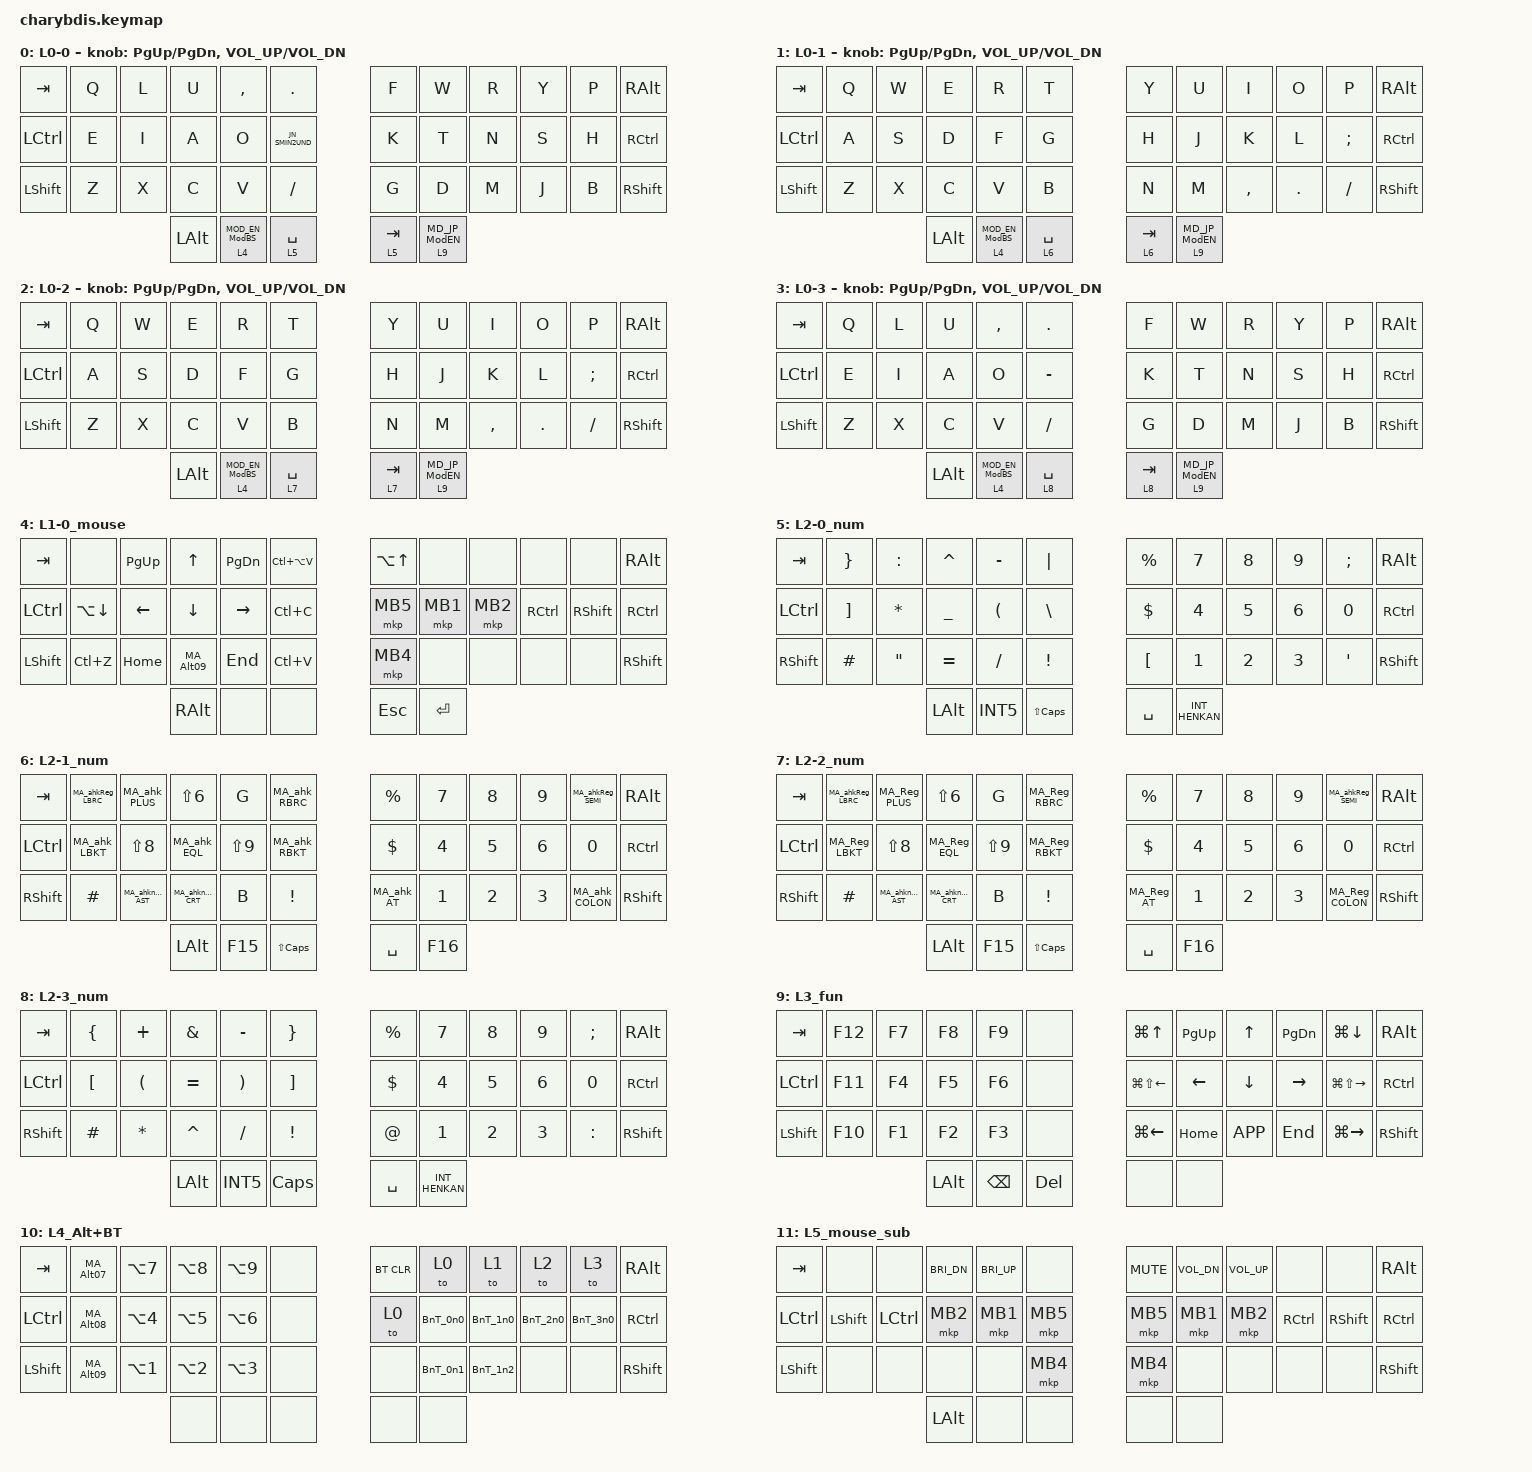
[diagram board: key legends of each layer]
#include <behaviors.dtsi>
#include <dt-bindings/zmk/bt.h>
#include <dt-bindings/zmk/keys.h>
#include <dt-bindings/zmk/pointing.h>

&lt {
    tapping-term-ms = <200>;
    flavor = "balanced";
    quick-tap-ms = <150>;
};

/ {
    macros {
        MA_Alt09: MA_Alt09 {
            compatible = "zmk,behavior-macro";
            #binding-cells = <0>;
            bindings = <&kp LALT &kp N0 &kp N9>;
            label = "MA_Alt09";
        };

        MA_Alt08: MA_Alt08 {
            compatible = "zmk,behavior-macro";
            #binding-cells = <0>;
            bindings = <&kp LALT &kp N0 &kp N8>;
            label = "MA_Alt08";
        };

        MA_Alt07: MA_Alt07 {
            compatible = "zmk,behavior-macro";
            #binding-cells = <0>;
            bindings = <&kp LALT &kp N0 &kp N7>;
            label = "MA_Alt07";
        };

        MA_ahk_LBKT: MA_ahk_LBKT {
            compatible = "zmk,behavior-macro";
            #binding-cells = <0>;
            bindings = <&sk SPACE &kp A>;
            label = "MA_AHK_LBKT";
        };

        MA_ahk_RBKT: MA_ahk_RBKT {
            compatible = "zmk,behavior-macro";
            #binding-cells = <0>;
            bindings = <&sk SPACE &kp G>;
            label = "MA_AHK_RBKT";
        };
    };

    combos {
        compatible = "zmk,combos";

        CO_gui {
            bindings = <&kp LEFT_WIN>;
            key-positions = <37 36>;
            layers = <0 1 2 3 5 6 7 8>;
        };

        CO_mo_L0.1 {
            bindings = <&mo 11>;
            key-positions = <37 38>;
        };

        CO_L4_AltBT {
            bindings = <&mo 10>;
            key-positions = <39 40>;
            layers = <0 1 2 3>;
        };

        CO_CtrlAtlShift {
            bindings = <&kp LS(LA(LCTRL))>;
            key-positions = <36 40>;
            layers = <0 1 2 3>;
        };

        CO_L2L_SCRL {
            bindings = <&mo 5>;
            key-positions = <19 21>;
        };

        CO_Shift {
            bindings = <&kp LSHIFT>;
            key-positions = <37 39>;
        };

        CO_Ctrl {
            bindings = <&kp LCTRL>;
            key-positions = <38 40>;
        };

        CO_L1_Mouse {
            bindings = <&sl 4>;
            key-positions = <19 22>;
            require-prior-idle-ms = <0>;
            layers = <4>;
        };
    };

    behaviors {
        JN_SMIN2UND: JN_SMIN2UND {
            compatible = "zmk,behavior-mod-morph";
            label = "JN_SMIN2UND";
            bindings = <&kp MINUS>, <&kp LS(0x87)>;

            #binding-cells = <0>;
            mods = <(MOD_LSFT|MOD_RSFT)>;
        };

        MD_JP_ModEN: MD_JP_ModEN {
            compatible = "zmk,behavior-mod-morph";
            label = "MD_JP_MODEN";
            #binding-cells = <0>;
            bindings = <&kp LANG1>, <&kp ENTER>, <&kp ENTER>, <&kp ENTER>;

            mods = <(MOD_LSFT|MOD_RSFT|MOD_LCTL|MOD_RCTL|MOD_LALT|MOD_RALT)>;
            keep-mods = <(1|MOD_LCTL|MOD_LSFT|MOD_LALT|MOD_RCTL|MOD_RSFT|MOD_RALT)>;
        };

        LT_JP_ModEN: LT_JP_ModEN {
            compatible = "zmk,behavior-hold-tap";
            label = "LT_JP_MODEN";
            #binding-cells = <2>;
            tapping-term-ms = <100>;
            quick-tap-ms = <0>;
            flavor = "tap-preferred";
            bindings = <&mo>, <&MD_JP_ModEN>;
        };

        MOD_EN_ModBS: MOD_EN_ModBS {
            compatible = "zmk,behavior-mod-morph";
            label = "MOD_EN_ModBS";
            #binding-cells = <0>;
            bindings = <&kp LANG2>, <&kp BSPC>, <&kp BSPC>, <&kp BSPC>;

            mods = <(MOD_LSFT|MOD_RSFT|MOD_LCTL|MOD_LALT|MOD_RALT|MOD_RCTL)>;
            keep-mods = <(1|MOD_LCTL|MOD_LSFT|MOD_LALT|MOD_RCTL|MOD_RSFT|MOD_RALT)>;
        };

        LT_EN_ModBS: LT_EN_ModBS {
            compatible = "zmk,behavior-hold-tap";
            label = "LT_EN_ModBS";
            #binding-cells = <2>;
            tapping-term-ms = <100>;
            quick-tap-ms = <0>;
            flavor = "tap-preferred";
            bindings = <&mo>, <&MOD_EN_ModBS>;
        };

        LT_150_100: LT_150_100 {
            compatible = "zmk,behavior-hold-tap";
            label = "LT_150_100";
            bindings = <&mo>, <&kp>;

            #binding-cells = <2>;
            flavor = "balanced";
            tapping-term-ms = <150>;
            quick-tap-ms = <100>;
        };

        MT_130: MT_130 {
            compatible = "zmk,behavior-hold-tap";
            label = "MT_130";
            bindings = <&mt>, <&kp>;

            #binding-cells = <2>;
            flavor = "balanced";
            tapping-term-ms = <130>;
        };

        BnT_0n0: BnT_0n0 {
            compatible = "zmk,behavior-macro";
            label = "BnT_0n0";
            #binding-cells = <0>;
            bindings = <&bt BT_SEL 0 &to 0>;
        };

        BnT_0n1: BnT_0n1 {
            compatible = "zmk,behavior-macro";
            label = "BnT_0n1";
            #binding-cells = <0>;
            bindings = <&bt BT_SEL 0 &to 1>;
        };

        BnT_1n0: BnT_1n0 {
            compatible = "zmk,behavior-macro";
            label = "BnT_1n0";
            #binding-cells = <0>;
            bindings = <&bt BT_SEL 1 &to 0>;
        };

        BnT_1n2: BnT_1n2 {
            compatible = "zmk,behavior-macro";
            label = "BnT_1n2";
            #binding-cells = <0>;
            bindings = <&bt BT_SEL 1 &to 2>;
        };

        BnT_2n0: BnT_2n0 {
            compatible = "zmk,behavior-macro";
            label = "BNT_2N0";
            #binding-cells = <0>;
            bindings = <&bt BT_SEL 2 &to 0>;
        };

        BnT_3n0: BnT_3n0 {
            compatible = "zmk,behavior-macro";
            label = "BNT_3N0";
            #binding-cells = <0>;
            bindings = <&bt BT_SEL 3 &to 0>;
        };

        MA_ahk_AT: MA_ahk_AT {
            compatible = "zmk,behavior-macro";
            #binding-cells = <0>;
            bindings = <&sk SPACE &kp N>;
            label = "MA_AHK_AT";
        };

        MA_ahkReg_LBRC: MA_ahk_LBRC {
            compatible = "zmk,behavior-macro";
            #binding-cells = <0>;
            bindings = <&sk SPACE &kp Q>;
            label = "MA_AHK_LBRC";
        };

        MA_ahk_RBRC: MA_ahk_RBRC {
            compatible = "zmk,behavior-macro";
            #binding-cells = <0>;
            bindings = <&sk SPACE &kp T>;
            label = "MA_AHK_RBRC";
        };

        MA_ahk_PLUS: MA_ahk_PLUS {
            compatible = "zmk,behavior-macro";
            #binding-cells = <0>;
            bindings = <&sk SPACE &kp W>;
            label = "MA_AHK_PLUS";
        };

        MA_ahk_EQL: MA_ahk_EQL {
            compatible = "zmk,behavior-macro";
            #binding-cells = <0>;
            bindings = <&sk SPACE &kp D>;
            label = "MA_AHK_EQL";
        };

        MA_ahknReg_AST: MA_ahk_AST {
            compatible = "zmk,behavior-macro";
            #binding-cells = <0>;
            bindings = <&sk SPACE &kp X>;
            label = "MA_AHK_AST";
        };

        MA_ahknReg_CRT: MA_ahknReg_CRT {
            compatible = "zmk,behavior-macro";
            #binding-cells = <0>;
            bindings = <&sk SPACE &kp C>;
            label = "MA_AHKNREG_CRT";
        };

        MA_ahkReg_SEMI: MA_ahkReg_SEMI {
            compatible = "zmk,behavior-macro";
            #binding-cells = <0>;
            bindings = <&sk SPACE &kp P>;
            label = "MA_AHKREG_SEMI";
        };

        MA_ahk_COLON: MA_ahk_COLON {
            compatible = "zmk,behavior-macro";
            #binding-cells = <0>;
            bindings = <&sk SPACE &kp SLASH>;
            label = "MA_AHK_COLON";
        };

        MA_Reg_PLUS: MA_Reg_PLUS {
            compatible = "zmk,behavior-macro";
            #binding-cells = <0>;
            bindings = <&sk SPACE &kp L>;
            label = "MA_REG_PLUS";
        };

        MA_Reg_RBRC: MA_Reg_RBRC {
            compatible = "zmk,behavior-macro";
            #binding-cells = <0>;
            bindings = <&sk SPACE &kp DOT>;
            label = "MA_REG_RBRC";
        };

        MA_Reg_LBKT: MA_Reg_LBKT {
            compatible = "zmk,behavior-macro";
            #binding-cells = <0>;
            bindings = <&sk SPACE &kp E>;
            label = "MA_REG_LBKT";
        };

        MA_Reg_RBKT: MA_Reg_RBKT {
            compatible = "zmk,behavior-macro";
            #binding-cells = <0>;
            bindings = <&sk SPACE &kp MINUS>;
            label = "MA_REG_RBKT";
        };

        MA_Reg_EQL: MA_Reg_EQL {
            compatible = "zmk,behavior-macro";
            #binding-cells = <0>;
            bindings = <&sk SPACE &kp A>;
            label = "MA_REG_EQL";
        };

        MA_Reg_AT: MA_Reg_AT {
            compatible = "zmk,behavior-macro";
            #binding-cells = <0>;
            bindings = <&sk SPACE &kp G>;
            label = "MA_REG_AT";
        };

        MA_Reg_COLON: MA_Reg_COLON {
            compatible = "zmk,behavior-macro";
            #binding-cells = <0>;
            bindings = <&sk SPACE &kp B>;
            label = "MA_REG_COLON";
        };
    };

    keymap {
        compatible = "zmk,keymap";

        L0-0 {
            bindings = <
&kp TAB     &kp Q  &kp L  &kp U         &kp COMMA         &kp DOT                &kp F              &kp W             &kp R  &kp Y  &kp P  &kp RALT
&kp LCTRL   &kp E  &kp I  &kp A         &kp O             &JN_SMIN2UND           &kp K              &kp T             &kp N  &kp S  &kp H  &kp RCTRL
&kp LSHIFT  &kp Z  &kp X  &kp C         &kp V             &kp FSLH               &kp G              &kp D             &kp M  &kp J  &kp B  &kp RSHIFT
                          &kp LEFT_ALT  &LT_EN_ModBS 4 0  &LT_150_100 5 SPACE    &LT_150_100 5 TAB  &LT_JP_ModEN 9 0
            >;

            sensor-bindings = <&inc_dec_kp PG_UP PG_DN &inc_dec_kp C_VOL_UP C_VOL_DN>;
        };

        L0-1 {
            bindings = <
&kp TAB     &kp Q  &kp W  &kp E     &kp R             &kp T                  &kp Y              &kp U             &kp I      &kp O    &kp P     &kp RALT
&kp LCTRL   &kp A  &kp S  &kp D     &kp F             &kp G                  &kp H              &kp J             &kp K      &kp L    &kp SEMI  &kp RCTRL
&kp LSHIFT  &kp Z  &kp X  &kp C     &kp V             &kp B                  &kp N              &kp M             &kp COMMA  &kp DOT  &kp FSLH  &kp RSHIFT
                          &kp LALT  &LT_EN_ModBS 4 0  &LT_150_100 6 SPACE    &LT_150_100 6 TAB  &LT_JP_ModEN 9 0
            >;

            sensor-bindings =
                <&inc_dec_kp PG_UP PG_DN>,
                <&inc_dec_kp C_VOL_UP C_VOL_DN>;
        };

        L0-2 {
            bindings = <
&kp TAB     &kp Q  &kp W  &kp E     &kp R             &kp T                  &kp Y              &kp U             &kp I      &kp O    &kp P     &kp RALT
&kp LCTRL   &kp A  &kp S  &kp D     &kp F             &kp G                  &kp H              &kp J             &kp K      &kp L    &kp SEMI  &kp RCTRL
&kp LSHIFT  &kp Z  &kp X  &kp C     &kp V             &kp B                  &kp N              &kp M             &kp COMMA  &kp DOT  &kp FSLH  &kp RSHIFT
                          &kp LALT  &LT_EN_ModBS 4 0  &LT_150_100 7 SPACE    &LT_150_100 7 TAB  &LT_JP_ModEN 9 0
            >;

            sensor-bindings =
                <&inc_dec_kp PG_UP PG_DN>,
                <&inc_dec_kp C_VOL_UP C_VOL_DN>;
        };

        L0-3 {
            bindings = <
&kp TAB     &kp Q  &kp L  &kp U         &kp COMMA         &kp DOT                &kp F              &kp W             &kp R  &kp Y  &kp P  &kp RALT
&kp LCTRL   &kp E  &kp I  &kp A         &kp O             &kp MINUS              &kp K              &kp T             &kp N  &kp S  &kp H  &kp RCTRL
&kp LSHIFT  &kp Z  &kp X  &kp C         &kp V             &kp FSLH               &kp G              &kp D             &kp M  &kp J  &kp B  &kp RSHIFT
                          &kp LEFT_ALT  &LT_EN_ModBS 4 0  &LT_150_100 8 SPACE    &LT_150_100 8 TAB  &LT_JP_ModEN 9 0
            >;

            sensor-bindings =
                <&inc_dec_kp PG_UP PG_DN>,
                <&inc_dec_kp C_VOL_UP C_VOL_DN>;
        };

        L1-0_mouse {
            bindings = <
&kp TAB    &none         &kp PG_UP  &kp UP     &kp PG_DN  &kp LC(LA(V))    &kp LA(UP)  &none      &none     &none      &none            &kp RALT
&kp LCTRL  &kp LA(DOWN)  &kp LEFT   &kp DOWN   &kp RIGHT  &kp LC(C)        &mkp MB5    &mkp MB1   &mkp MB2  &kp RCTRL  &kp RIGHT_SHIFT  &kp RCTRL
&kp LSHFT  &kp LC(Z)     &kp HOME   &MA_Alt09  &kp END    &kp LC(V)        &mkp MB4    &none      &none     &none      &none            &kp RSHFT
                                    &kp RALT   &none      &none            &kp ESC     &kp ENTER
            >;
        };

        L2-0_num {
            bindings = <
&kp TAB     &kp RBRC  &kp COLON  &kp CARET     &kp MINUS  &kp PIPE         &kp PRCNT  &kp N7          &kp N8  &kp N9  &kp SEMI  &kp RALT
&kp LCTRL   &kp RBKT  &kp ASTRK  &kp UNDER     &kp LPAR   &kp BACKSLASH    &kp DLLR   &kp N4          &kp N5  &kp N6  &kp N0    &kp RCTRL
&kp RSHIFT  &kp HASH  &kp DQT    &kp EQUAL     &kp FSLH   &kp EXCL         &kp LBKT   &kp N1          &kp N2  &kp N3  &kp SQT   &kp RSHFT
                                 &kp LEFT_ALT  &kp INT5   &kp LS(CAPS)     &kp SPACE  &kp INT_HENKAN
            >;
        };

        L2-1_num {
            bindings = <
&kp TAB     &MA_ahkReg_LBRC  &MA_ahk_PLUS     &kp LS(N6)       &kp G       &MA_ahk_RBRC    &kp PRCNT   &kp N7   &kp N8  &kp N9  &MA_ahkReg_SEMI  &kp RALT
&kp LCTRL   &MA_ahk_LBKT     &kp LS(N8)       &MA_ahk_EQL      &kp LS(N9)  &MA_ahk_RBKT    &kp DLLR    &kp N4   &kp N5  &kp N6  &kp N0           &kp RCTRL
&kp RSHIFT  &kp HASH         &MA_ahknReg_AST  &MA_ahknReg_CRT  &kp B       &kp EXCL        &MA_ahk_AT  &kp N1   &kp N2  &kp N3  &MA_ahk_COLON    &kp RSHFT
                                              &kp LEFT_ALT     &kp F15     &kp LS(CAPS)    &kp SPACE   &kp F16
            >;
        };

        L2-2_num {
            bindings = <
&kp TAB     &MA_ahkReg_LBRC  &MA_Reg_PLUS     &kp LS(N6)       &kp G       &MA_Reg_RBRC    &kp PRCNT   &kp N7   &kp N8  &kp N9  &MA_ahkReg_SEMI  &kp RALT
&kp LCTRL   &MA_Reg_LBKT     &kp LS(N8)       &MA_Reg_EQL      &kp LS(N9)  &MA_Reg_RBKT    &kp DLLR    &kp N4   &kp N5  &kp N6  &kp N0           &kp RCTRL
&kp RSHIFT  &kp HASH         &MA_ahknReg_AST  &MA_ahknReg_CRT  &kp B       &kp EXCL        &MA_Reg_AT  &kp N1   &kp N2  &kp N3  &MA_Reg_COLON    &kp RSHFT
                                              &kp LEFT_ALT     &kp F15     &kp LS(CAPS)    &kp SPACE   &kp F16
            >;
        };

        L2-3_num {
            bindings = <
&kp TAB     &kp LBRC  &kp PLUS   &kp AMPS      &kp MINUS  &kp RBRC    &kp PRCNT  &kp N7          &kp N8  &kp N9  &kp SEMI   &kp RALT
&kp LCTRL   &kp LBKT  &kp LPAR   &kp EQUAL     &kp RPAR   &kp RBKT    &kp DLLR   &kp N4          &kp N5  &kp N6  &kp N0     &kp RCTRL
&kp RSHIFT  &kp HASH  &kp ASTRK  &kp CARET     &kp FSLH   &kp EXCL    &kp AT     &kp N1          &kp N2  &kp N3  &kp COLON  &kp RSHFT
                                 &kp LEFT_ALT  &kp INT5   &kp CAPS    &kp SPACE  &kp INT_HENKAN
            >;
        };

        L3_fun {
            bindings = <
&kp TAB    &kp F12  &kp F7  &kp F8        &kp F9    &none      &kp LG(UP)        &kp PG_UP  &kp UP     &kp PG_DN  &kp LG(DOWN)       &kp RALT
&kp LCTRL  &kp F11  &kp F4  &kp F5        &kp F6    &none      &kp LG(LS(LEFT))  &kp LEFT   &kp DOWN   &kp RIGHT  &kp LG(LS(RIGHT))  &kp RCTRL
&kp LSHFT  &kp F10  &kp F1  &kp F2        &kp F3    &none      &kp LG(LEFT)      &kp HOME   &kp K_APP  &kp END    &kp LG(RIGHT)      &kp RSHFT
                            &kp LEFT_ALT  &kp BSPC  &kp DEL    &none             &none
            >;
        };

        L4_Alt+BT {
            bindings = <
&kp TAB    &MA_Alt07  &kp LA(N7)  &kp LA(N8)  &kp LA(N9)  &none    &bt BT_CLR  &to 0     &to 1     &to 2     &to 3     &kp RALT
&kp LCTRL  &MA_Alt08  &kp LA(N4)  &kp LA(N5)  &kp LA(N6)  &none    &to 0       &BnT_0n0  &BnT_1n0  &BnT_2n0  &BnT_3n0  &kp RCTRL
&kp LSHFT  &MA_Alt09  &kp LA(N1)  &kp LA(N2)  &kp LA(N3)  &none    &none       &BnT_0n1  &BnT_1n2  &none     &none     &kp RSHFT
                                  &none       &none       &none    &none       &none
            >;
        };

        L5_mouse_sub {
            bindings = <
&kp TAB    &none       &none      &kp C_BRI_DN  &kp C_BRI_UP  &none       &kp C_MUTE  &kp C_VOL_DN  &kp C_VOL_UP  &none      &none            &kp RALT
&kp LCTRL  &kp LSHIFT  &kp LCTRL  &mkp MB2      &mkp MB1      &mkp MB5    &mkp MB5    &mkp MB1      &mkp MB2      &kp RCTRL  &kp RIGHT_SHIFT  &kp RCTRL
&kp LSHFT  &none       &none      &none         &none         &mkp MB4    &mkp MB4    &none         &none         &none      &none            &kp RSHFT
                                  &kp LALT      &none         &none       &none       &none
            >;
        };

        /* layer_2 {
            bindings = <
&none  &none   &none    &none   &none         &none         &kp N1         &none         &none     &none  &none   &to 0
&none  &none   &none    &none   &none         &none         &none         &none          &rgb_ug RGB_BRD &rgb_ug RGB_BRI  &rgb_ug RGB_EFF   &rgb_ug RGB_TOG
&none  &none   &none    &none   &none         &none         &none         &mkp LCLK     &mkp RCLK  &none  &none   &none
&none  &none   &none    &none   &bt BT_NXT  &bt BT_CLR    &none         &none         &none     &none  &none   &none
                                   &none         &none         &none         &none         &none
                                                 &none         &none         &none
            >;
       
            
        };

       Mouse {
            bindings = <
&none        &none         &none         &none         &none      &none         &none       &none      &none         &none         &none         &none
&none        &bt BT_SEL 0  &bt BT_SEL 1  &bt BT_SEL 3  &none      &bt BT_CLR    &bt BT_CLR  &none      &bt BT_SEL 2  &bt BT_SEL 1  &bt BT_SEL 0  &none
&none        &trans        &trans        &mkp MCLK     &trans     &none         &none       &trans     &mkp MCLK     &trans        &trans        &none
&bootloader  &trans        &mkp RCLK     &mo 4         &mkp LCLK  &mo 5         &mo 5       &mkp LCLK  &mo 4         &mkp RCLK     &trans        &bootloader
                                         &mo 5         &mkp LCLK  &mkp RCLK     &mkp RCLK   &mkp LCLK
                                                       &none      &trans        &trans
            >;

            
        };

        layer_4 {
            bindings = <
&trans  &trans  &trans     &trans     &trans     &trans       &trans     &trans     &trans     &trans     &trans  &trans
&trans  &trans  &trans     &trans     &trans     &trans       &trans     &trans     &trans     &trans     &trans  &trans
&trans  &trans  &trans     &mkp MCLK  &trans     &trans       &trans     &trans     &mkp MCLK  &trans     &trans  &trans
&trans  &trans  &mkp RCLK  &trans     &mkp LCLK  &trans       &trans     &mkp LCLK  &trans     &mkp RCLK  &trans  &trans
                           &trans     &mkp LCLK  &mkp RCLK    &mkp RCLK  &mkp LCLK
                                      &trans     &trans       &trans
            >;
                
                
               
        };

        layer_5 {
            bindings = <
&trans  &trans  &trans     &trans     &trans     &trans       &trans     &trans     &trans     &trans     &trans  &trans
&trans  &trans  &trans     &trans     &trans     &trans       &trans     &trans     &trans     &trans     &trans  &trans
&trans  &trans  &trans     &mkp MCLK  &trans     &trans       &trans     &trans     &mkp MCLK  &trans     &trans  &trans
&trans  &trans  &mkp RCLK  &trans     &mkp LCLK  &trans       &trans     &mkp LCLK  &trans     &mkp RCLK  &trans  &trans
                           &trans     &mkp LCLK  &mkp RCLK    &mkp RCLK  &mkp LCLK
                                      &trans     &trans       &trans
            >;
                
                
        };*/
    };
};
